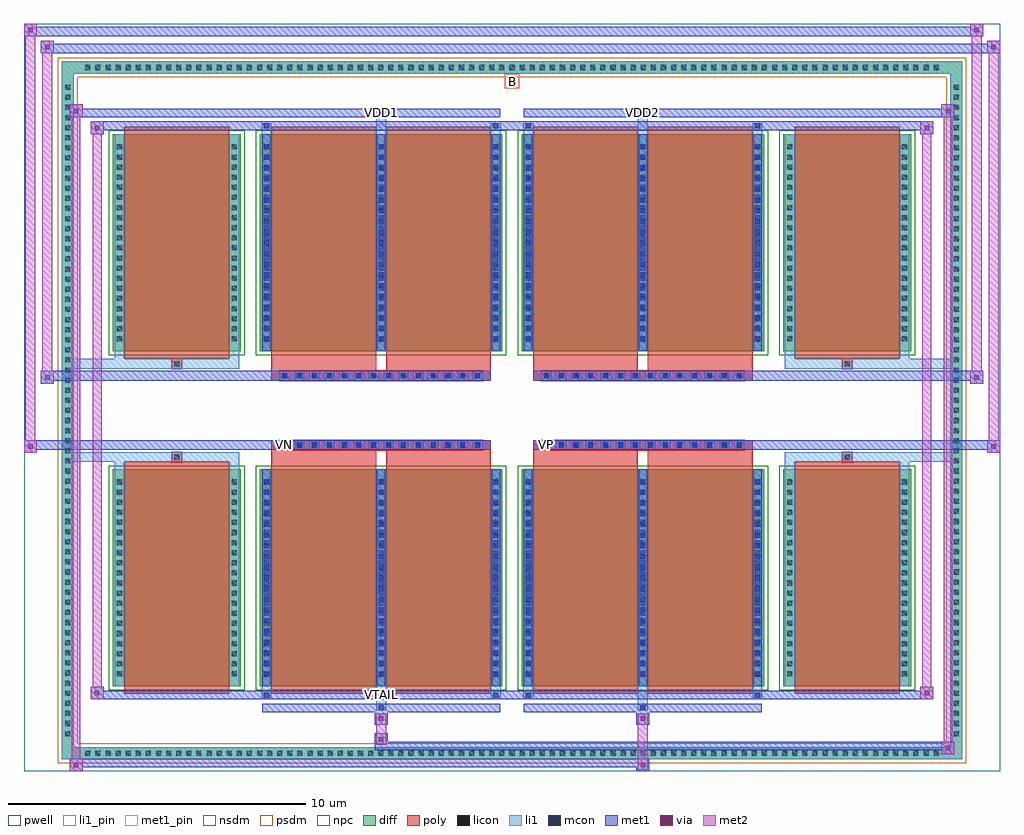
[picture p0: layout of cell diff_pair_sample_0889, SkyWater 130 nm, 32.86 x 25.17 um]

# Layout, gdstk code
import gdstk
lib = gdstk.Library(unit=1e-6, precision=5e-09)
def R(c, l, rs):  # rectangles x0, y0, x1, y1
    for r in rs: c.add(gdstk.rectangle(r[:2], r[2:], *l))
def A(c, l, x, y, w, h, nx, ny, dx, dy):  # array of equal rectangles
    R(c, l, [(x+i*dx, y+j*dy, x+i*dx+w, y+j*dy+h) for i in range(nx) for j in range(ny)])
def P(c, l, *ps):  # polygons
    for p in ps: c.add(gdstk.Polygon(p, *l))
pwell = (64, 44)
diff = (65, 20)
poly = (66, 20)
licon = (66, 44)
li1_pin = (67, 16)
li1 = (67, 20)
mcon = (67, 44)
met1_pin = (68, 16)
met1 = (68, 20)
via = (68, 44)
met2 = (69, 20)
nsdm = (93, 44)
psdm = (94, 20)
npc = (95, 20)

diff_pair_sample_0889 = lib.new_cell('diff_pair_sample_0889')
R(diff_pair_sample_0889, pwell, [(-16.43,-12.15,16.43,13.02), (-13.75,-10.34,-0.01,-0.8), (0.01,-10.34,13.75,-0.8), (-13.75,0.8,-0.01,10.34), (0.01,0.8,13.75,10.34)])
A(diff_pair_sample_0889, diff, -14.485, -11.75, 0.41, 0.41, 85, 2, 0.34, 23.09)
A(diff_pair_sample_0889, diff, -15.16, -11.085, 0.41, 0.41, 1, 65, 0, 0.34)
A(diff_pair_sample_0889, diff, 14.75, -11.085, 0.41, 0.41, 1, 65, 0, 0.34)
R(diff_pair_sample_0889, diff, [(-14.485,-11.75,14.485,-11.34), (-15.16,-11.085,-14.75,11.085), (14.75,-11.085,15.16,11.085), (-13.44,-9.295,-9.13,-1.985), (-8.49,-9.295,-0.32,-1.985), (0.32,-9.295,8.49,-1.985), (9.13,-9.295,13.44,-1.985), (-13.44,1.985,-9.13,9.295), (-8.49,1.985,-0.32,9.295), (0.32,1.985,8.49,9.295), (9.13,1.985,13.44,9.295), (-14.485,11.34,14.485,11.75)])
P(diff_pair_sample_0889, diff, [(15.16,11.75),(-15.16,11.75),(-15.16,-11.34),(-14.75,-11.34),(-14.75,11.34),(14.75,11.34),(14.75,-11.34),(-14.75,-11.34),(-15.16,-11.34),(-15.16,-11.75),(15.16,-11.75)])
A(diff_pair_sample_0889, poly, -7.82, -1.33, 0.33, 0.33, 14, 2, 0.5, 2.33)
A(diff_pair_sample_0889, poly, 0.99, -1.33, 0.33, 0.33, 14, 2, 0.5, 2.33)
R(diff_pair_sample_0889, poly, [(-13.05,-9.545,-9.52,-1.735), (-8.1,-9.545,-4.57,-1.735), (-4.24,-9.545,-0.71,-1.735), (0.71,-9.545,4.24,-1.735), (4.57,-9.545,8.1,-1.735), (9.52,-9.545,13.05,-1.735), (-11.45,-1.735,-11.12,-1.405), (-11.45,-1.735,-11.12,-1.405), (-8.1,-1.735,-4.57,-1.33), (-4.24,-1.735,-0.71,-1.33), (0.71,-1.735,4.24,-1.33), (4.57,-1.735,8.1,-1.33), (11.12,-1.735,11.45,-1.405), (11.12,-1.735,11.45,-1.405), (-8.1,-1.33,-0.71,-1), (0.71,-1.33,8.1,-1), (-8.1,1,-0.71,1.33), (0.71,1,8.1,1.33), (-8.1,1.33,-4.57,1.735), (-4.24,1.33,-0.71,1.735), (0.71,1.33,4.24,1.735), (4.57,1.33,8.1,1.735), (-11.45,1.405,-11.12,1.735), (-11.45,1.405,-11.12,1.735), (11.12,1.405,11.45,1.735), (11.12,1.405,11.45,1.735), (-13.05,1.735,-9.52,9.545), (-8.1,1.735,-4.57,9.545), (-4.24,1.735,-0.71,9.545), (0.71,1.735,4.24,9.545), (4.57,1.735,8.1,9.545), (9.52,1.735,13.05,9.545)])
A(diff_pair_sample_0889, licon, -14.365, -11.63, 0.17, 0.17, 85, 2, 0.34, 23.09)
A(diff_pair_sample_0889, licon, -15.04, -10.965, 0.17, 0.17, 1, 65, 0, 0.34)
A(diff_pair_sample_0889, licon, 14.87, -10.965, 0.17, 0.17, 1, 65, 0, 0.34)
A(diff_pair_sample_0889, licon, -13.3, -8.955, 0.17, 0.17, 1, 20, 0, 0.34)
A(diff_pair_sample_0889, licon, -9.44, -8.955, 0.17, 0.17, 1, 20, 0, 0.34)
A(diff_pair_sample_0889, licon, -8.35, -8.955, 0.17, 0.17, 3, 20, 3.86, 0.34)
A(diff_pair_sample_0889, licon, 0.46, -8.955, 0.17, 0.17, 3, 20, 3.86, 0.34)
A(diff_pair_sample_0889, licon, 9.27, -8.955, 0.17, 0.17, 1, 20, 0, 0.34)
A(diff_pair_sample_0889, licon, 13.13, -8.955, 0.17, 0.17, 1, 20, 0, 0.34)
A(diff_pair_sample_0889, licon, -7.74, -1.25, 0.17, 0.17, 14, 2, 0.5, 2.33)
A(diff_pair_sample_0889, licon, 1.07, -1.25, 0.17, 0.17, 14, 2, 0.5, 2.33)
A(diff_pair_sample_0889, licon, -13.3, 2.325, 0.17, 0.17, 1, 20, 0, 0.34)
A(diff_pair_sample_0889, licon, -9.44, 2.325, 0.17, 0.17, 1, 20, 0, 0.34)
A(diff_pair_sample_0889, licon, -8.35, 2.325, 0.17, 0.17, 3, 20, 3.86, 0.34)
A(diff_pair_sample_0889, licon, 0.46, 2.325, 0.17, 0.17, 3, 20, 3.86, 0.34)
A(diff_pair_sample_0889, licon, 9.27, 2.325, 0.17, 0.17, 1, 20, 0, 0.34)
A(diff_pair_sample_0889, licon, 13.13, 2.325, 0.17, 0.17, 1, 20, 0, 0.34)
R(diff_pair_sample_0889, licon, [(-11.37,-1.655,-11.2,-1.485), (11.2,-1.655,11.37,-1.485), (-11.37,1.485,-11.2,1.655), (11.2,1.485,11.37,1.655)])
R(diff_pair_sample_0889, li1_pin, [(-0.25,10.84,0.25,11.34)])
A(diff_pair_sample_0889, li1, -14.445, -11.71, 0.33, 0.33, 85, 2, 0.34, 23.09)
A(diff_pair_sample_0889, li1, -15.12, -11.045, 0.33, 0.33, 1, 65, 0, 0.34)
A(diff_pair_sample_0889, li1, 14.79, -11.045, 0.33, 0.33, 1, 65, 0, 0.34)
A(diff_pair_sample_0889, li1, -8.43, -9.295, 0.33, 7.31, 3, 2, 3.86, 11.28)
A(diff_pair_sample_0889, li1, 0.38, -9.295, 0.33, 7.31, 3, 2, 3.86, 11.28)
A(diff_pair_sample_0889, li1, -13.38, -9.035, 0.33, 0.33, 1, 20, 0, 0.34)
A(diff_pair_sample_0889, li1, -9.52, -9.035, 0.33, 0.33, 1, 20, 0, 0.34)
A(diff_pair_sample_0889, li1, -8.43, -9.035, 0.33, 0.33, 3, 20, 3.86, 0.34)
A(diff_pair_sample_0889, li1, 0.38, -9.035, 0.33, 0.33, 3, 20, 3.86, 0.34)
A(diff_pair_sample_0889, li1, 9.19, -9.035, 0.33, 0.33, 1, 20, 0, 0.34)
A(diff_pair_sample_0889, li1, 13.05, -9.035, 0.33, 0.33, 1, 20, 0, 0.34)
A(diff_pair_sample_0889, li1, -8.35, -8.965, 0.17, 0.17, 3, 19, 3.86, 0.36)
A(diff_pair_sample_0889, li1, -8.35, -8.965, 0.17, 6.65, 3, 2, 3.86, 11.28)
A(diff_pair_sample_0889, li1, 0.46, -8.965, 0.17, 0.17, 3, 19, 3.86, 0.36)
A(diff_pair_sample_0889, li1, 0.46, -8.965, 0.17, 6.65, 3, 2, 3.86, 11.28)
A(diff_pair_sample_0889, li1, -7.82, -1.33, 0.33, 0.33, 14, 2, 0.5, 2.33)
A(diff_pair_sample_0889, li1, 0.99, -1.33, 0.33, 0.33, 14, 2, 0.5, 2.33)
A(diff_pair_sample_0889, li1, -13.38, 2.245, 0.33, 0.33, 1, 20, 0, 0.34)
A(diff_pair_sample_0889, li1, -9.52, 2.245, 0.33, 0.33, 1, 20, 0, 0.34)
A(diff_pair_sample_0889, li1, -8.43, 2.245, 0.33, 0.33, 3, 20, 3.86, 0.34)
A(diff_pair_sample_0889, li1, 0.38, 2.245, 0.33, 0.33, 3, 20, 3.86, 0.34)
A(diff_pair_sample_0889, li1, 9.19, 2.245, 0.33, 0.33, 1, 20, 0, 0.34)
A(diff_pair_sample_0889, li1, 13.05, 2.245, 0.33, 0.33, 1, 20, 0, 0.34)
A(diff_pair_sample_0889, li1, -8.35, 2.315, 0.17, 0.17, 3, 19, 3.86, 0.36)
A(diff_pair_sample_0889, li1, 0.46, 2.315, 0.17, 0.17, 3, 19, 3.86, 0.36)
R(diff_pair_sample_0889, li1, [(-15.16,-11.75,-14.75,-11.34), (-15.16,-11.75,-14.75,-11.34), (-14.75,-11.75,14.75,-11.34), (14.75,-11.75,15.16,-11.34), (14.75,-11.75,15.16,-11.34), (-15.16,-11.34,-14.75,11.34), (14.75,-11.34,15.16,11.34), (-4.57,-10.1,-4.24,-9.295), (-4.49,-10.1,-4.32,-9.93), (4.24,-10.1,4.57,-9.295), (4.32,-10.1,4.49,-9.93), (-8.43,-9.67,-8.1,-9.295), (-8.35,-9.67,-8.18,-9.5), (-0.71,-9.67,-0.38,-9.295), (-0.63,-9.67,-0.46,-9.5), (0.38,-9.67,0.71,-9.295), (0.46,-9.67,0.63,-9.5), (8.1,-9.67,8.43,-9.295), (8.18,-9.67,8.35,-9.5), (-13.38,-9.295,-13.05,-1.985), (-9.52,-9.295,-9.19,-1.985), (9.19,-9.295,9.52,-1.985), (13.05,-9.295,13.38,-1.985), (-13.38,-1.985,-13.05,-1.405), (-9.52,-1.985,-9.19,-1.405), (9.19,-1.985,9.52,-1.405), (13.05,-1.985,13.38,-1.405), (-15.16,-1.735,-11.45,-1.405), (-13.38,-1.735,-11.45,-1.405), (-11.45,-1.735,-11.12,-1.405), (-11.12,-1.735,-9.19,-1.405), (9.19,-1.735,11.12,-1.405), (11.12,-1.735,11.45,-1.405), (11.12,-1.735,15.16,-1.405), (11.45,-1.735,13.38,-1.405), (-15.16,1.405,-11.45,1.735), (-13.38,1.405,-11.45,1.735), (-13.38,1.405,-13.05,1.985), (-11.45,1.405,-11.12,1.735), (-11.12,1.405,-9.19,1.735), (-9.52,1.405,-9.19,1.985), (9.19,1.405,11.12,1.735), (9.19,1.405,9.52,1.985), (11.12,1.405,11.45,1.735), (11.12,1.405,15.16,1.735), (11.45,1.405,13.38,1.735), (13.05,1.405,13.38,1.985), (-13.38,1.985,-13.05,9.295), (-9.52,1.985,-9.19,9.295), (9.19,1.985,9.52,9.295), (13.05,1.985,13.38,9.295), (-8.43,9.295,-8.1,9.67), (-4.57,9.295,-4.24,10.1), (-0.71,9.295,-0.38,9.67), (0.38,9.295,0.71,9.67), (4.24,9.295,4.57,10.1), (8.1,9.295,8.43,9.67), (-8.35,9.5,-8.18,9.67), (-0.63,9.5,-0.46,9.67), (0.46,9.5,0.63,9.67), (8.18,9.5,8.35,9.67), (-4.49,9.93,-4.32,10.1), (4.32,9.93,4.49,10.1), (-15.16,11.34,-14.75,11.75), (-15.16,11.34,-14.75,11.75), (-14.75,11.34,14.75,11.75), (14.75,11.34,15.16,11.75), (14.75,11.34,15.16,11.75)])
A(diff_pair_sample_0889, mcon, -8.35, -8.965, 0.17, 0.17, 3, 19, 3.86, 0.36)
A(diff_pair_sample_0889, mcon, 0.46, -8.965, 0.17, 0.17, 3, 19, 3.86, 0.36)
A(diff_pair_sample_0889, mcon, -7.74, -1.25, 0.17, 0.17, 14, 2, 0.5, 2.33)
A(diff_pair_sample_0889, mcon, 1.07, -1.25, 0.17, 0.17, 14, 2, 0.5, 2.33)
A(diff_pair_sample_0889, mcon, -8.35, 2.315, 0.17, 0.17, 3, 19, 3.86, 0.36)
A(diff_pair_sample_0889, mcon, 0.46, 2.315, 0.17, 0.17, 3, 19, 3.86, 0.36)
R(diff_pair_sample_0889, mcon, [(-4.49,-10.1,-4.32,-9.93), (4.32,-10.1,4.49,-9.93), (-8.35,-9.67,-8.18,-9.5), (-0.63,-9.67,-0.46,-9.5), (0.46,-9.67,0.63,-9.5), (8.18,-9.67,8.35,-9.5), (-8.35,9.5,-8.18,9.67), (-0.63,9.5,-0.46,9.67), (0.46,9.5,0.63,9.67), (8.18,9.5,8.35,9.67), (-4.49,9.93,-4.32,10.1), (4.32,9.93,4.49,10.1)])
R(diff_pair_sample_0889, met1_pin, [(-4.54,-9.71,-4.27,-9.44), (-7.79,-1.29,-7.52,-1.02), (1.02,-1.29,1.29,-1.02), (-4.54,9.89,-4.27,10.16), (4.27,9.89,4.54,10.16)])
A(diff_pair_sample_0889, met1, -8.41, -9.295, 0.29, 7.31, 3, 2, 3.86, 11.28)
A(diff_pair_sample_0889, met1, 0.4, -9.295, 0.29, 7.31, 3, 2, 3.86, 11.28)
A(diff_pair_sample_0889, met1, -8.41, -9.025, 0.29, 0.29, 3, 19, 3.86, 0.36)
A(diff_pair_sample_0889, met1, 0.4, -9.025, 0.29, 0.29, 3, 19, 3.86, 0.36)
A(diff_pair_sample_0889, met1, -7.8, -1.31, 0.29, 0.29, 14, 2, 0.5, 2.33)
A(diff_pair_sample_0889, met1, 1.01, -1.31, 0.29, 0.29, 14, 2, 0.5, 2.33)
A(diff_pair_sample_0889, met1, -8.41, 2.255, 0.29, 0.29, 3, 19, 3.86, 0.36)
A(diff_pair_sample_0889, met1, 0.4, 2.255, 0.29, 0.29, 3, 19, 3.86, 0.36)
R(diff_pair_sample_0889, met1, [(-14.89,-12.15,-14.46,-11.72), (4.19,-12.15,4.62,-11.72), (-14.89,-12.01,4.62,-11.72), (14.46,-11.58,14.89,-11.15), (-4.62,-11.44,14.89,-11.15), (-4.62,-11.3,-4.19,-10.87), (-4.62,-10.59,-4.19,-10.16), (4.19,-10.59,4.62,-10.16), (-8.41,-10.16,-0.4,-9.87), (-4.55,-10.16,-4.26,-9.87), (0.4,-10.16,8.41,-9.87), (4.26,-10.16,4.55,-9.87), (-14.18,-9.73,-13.75,-9.3), (-14.18,-9.73,-8.41,-9.44), (-8.41,-9.73,-8.12,-9.44), (-8.41,-9.73,-0.4,-9.44), (-0.69,-9.73,-0.4,-9.44), (-0.4,-9.73,0.4,-9.44), (0.4,-9.73,0.69,-9.44), (0.4,-9.73,8.41,-9.44), (8.12,-9.73,8.41,-9.44), (8.41,-9.73,14.18,-9.44), (13.75,-9.73,14.18,-9.3), (-16.43,-1.43,-16,-1), (16,-1.43,16.43,-1), (-16.43,-1.33,-0.71,-1), (-8.1,-1.33,-0.71,-1), (0.71,-1.33,8.1,-1), (0.71,-1.33,16.43,-1), (-15.86,0.9,-15.43,1.33), (15.43,0.9,15.86,1.33), (-15.86,1,-8.1,1.33), (-8.1,1,-0.71,1.33), (0.71,1,8.1,1.33), (8.1,1,15.86,1.33), (-14.18,9.3,-13.75,9.73), (13.75,9.3,14.18,9.73), (-14.18,9.44,-8.41,9.73), (-8.41,9.44,-8.12,9.73), (-8.41,9.44,-0.4,9.73), (-0.69,9.44,-0.4,9.73), (-0.4,9.44,0.4,9.73), (0.4,9.44,0.69,9.73), (0.4,9.44,8.41,9.73), (8.12,9.44,8.41,9.73), (8.41,9.44,14.18,9.73), (-14.89,9.87,-14.46,10.3), (-14.89,9.87,-8.41,10.16), (-8.41,9.87,-0.4,10.16), (-4.55,9.87,-4.26,10.16), (0.4,9.87,8.41,10.16), (4.26,9.87,4.55,10.16), (8.41,9.87,14.89,10.16), (14.46,9.87,14.89,10.3), (-15.86,12.02,-15.43,12.45), (-15.86,12.02,-13.75,12.35), (-13.75,12.02,13.75,12.35), (13.75,12.02,16.43,12.35), (16,12.02,16.43,12.45), (-16.43,12.59,-16,13.02), (-16.43,12.59,-13.75,12.92), (-13.75,12.59,13.75,12.92), (13.75,12.59,15.86,12.92), (15.43,12.59,15.86,13.02)])
R(diff_pair_sample_0889, via, [(-14.75,-12.01,-14.6,-11.86), (4.33,-12.01,4.48,-11.86), (14.6,-11.44,14.75,-11.29), (-4.48,-11.16,-4.33,-11.01), (-4.48,-10.45,-4.33,-10.3), (4.33,-10.45,4.48,-10.3), (-14.04,-9.59,-13.89,-9.44), (13.89,-9.59,14.04,-9.44), (-16.29,-1.29,-16.14,-1.14), (16.14,-1.29,16.29,-1.14), (-15.72,1.04,-15.57,1.19), (15.57,1.04,15.72,1.19), (-14.04,9.44,-13.89,9.59), (13.89,9.44,14.04,9.59), (-14.75,10.01,-14.6,10.16), (14.6,10.01,14.75,10.16), (-15.72,12.16,-15.57,12.31), (16.14,12.16,16.29,12.31), (-16.29,12.73,-16.14,12.88), (15.57,12.73,15.72,12.88)])
R(diff_pair_sample_0889, met2, [(-14.89,-12.15,-14.46,-11.72), (-14.82,-12.15,-14.53,10.3), (-14.53,-12.15,-14.46,-11.72), (-14.84,-12.1,-14.51,-11.77), (4.24,-12.1,4.57,-11.77), (4.24,-11.77,4.57,-10.54), (14.46,-11.58,14.89,-11.15), (14.53,-11.58,14.82,10.3), (14.82,-11.58,14.89,-11.15), (14.51,-11.53,14.84,-11.2), (-4.57,-11.25,-4.24,-10.92), (-4.57,-10.92,-4.24,-10.54), (-4.57,-10.54,-4.24,-10.21), (4.24,-10.54,4.57,-10.21), (-14.18,-9.73,-13.75,-9.3), (-14.11,-9.73,-13.82,9.73), (-13.82,-9.73,-13.75,-9.3), (13.75,-9.73,14.18,-9.3), (13.82,-9.73,14.11,9.73), (14.11,-9.73,14.18,-9.3), (-14.13,-9.68,-13.8,-9.35), (13.8,-9.68,14.13,-9.35), (-16.43,-1.43,-16,-1), (-16.38,-1.43,-16.05,13.02), (-16.05,-1.43,-16,-1), (16,-1.43,16.43,-1), (16.05,-1.43,16.38,12.45), (16.38,-1.43,16.43,-1), (-16.38,-1.38,-16.05,-1.05), (16.05,-1.38,16.38,-1.05), (-15.86,0.9,-15.43,1.33), (-15.81,0.9,-15.48,12.45), (-15.48,0.9,-15.43,1.33), (15.43,0.9,15.86,1.33), (15.48,0.9,15.81,13.02), (15.81,0.9,15.86,1.33), (-15.81,0.95,-15.48,1.28), (15.48,0.95,15.81,1.28), (-14.18,9.3,-13.75,9.73), (-13.82,9.3,-13.75,9.73), (13.75,9.3,14.18,9.73), (14.11,9.3,14.18,9.73), (-14.13,9.35,-13.8,9.68), (13.8,9.35,14.13,9.68), (-14.89,9.87,-14.46,10.3), (-14.53,9.87,-14.46,10.3), (14.46,9.87,14.89,10.3), (14.82,9.87,14.89,10.3), (-14.84,9.92,-14.51,10.25), (14.51,9.92,14.84,10.25), (-15.86,12.02,-15.43,12.45), (-15.48,12.02,-15.43,12.45), (16,12.02,16.43,12.45), (16.38,12.02,16.43,12.45), (-15.81,12.07,-15.48,12.4), (16.05,12.07,16.38,12.4), (-16.43,12.59,-16,13.02), (-16.05,12.59,-16,13.02), (15.43,12.59,15.86,13.02), (15.81,12.59,15.86,13.02), (-16.38,12.64,-16.05,12.97), (15.48,12.64,15.81,12.97)])
R(diff_pair_sample_0889, nsdm, [(-13.57,-9.425,-9,-1.855), (-8.62,-9.425,-0.19,-1.855), (0.19,-9.425,8.62,-1.855), (9,-9.425,13.57,-1.855), (-13.57,1.855,-9,9.425), (-8.62,1.855,-0.19,9.425), (0.19,1.855,8.62,9.425), (9,1.855,13.57,9.425)])
P(diff_pair_sample_0889, psdm, [(15.29,11.88),(-15.29,11.88),(-15.29,-11.21),(-14.62,-11.21),(-14.62,11.21),(14.62,11.21),(14.62,-11.21),(-14.62,-11.21),(-15.29,-11.21),(-15.29,-11.88),(15.29,-11.88)])
A(diff_pair_sample_0889, npc, -7.84, -1.35, 0.37, 0.37, 14, 2, 0.5, 2.33)
A(diff_pair_sample_0889, npc, 0.97, -1.35, 0.37, 0.37, 14, 2, 0.5, 2.33)
R(diff_pair_sample_0889, npc, [(-11.47,-1.755,-11.1,-1.385), (11.1,-1.755,11.47,-1.385), (-7.84,-1.35,-6.97,-0.98), (-7.84,-1.35,-6.97,-0.98), (-7.34,-1.35,-6.47,-0.98), (-7.34,-1.35,-6.47,-0.98), (-6.84,-1.35,-5.97,-0.98), (-6.84,-1.35,-5.97,-0.98), (-6.34,-1.35,-5.47,-0.98), (-6.34,-1.35,-5.47,-0.98), (-5.84,-1.35,-4.97,-0.98), (-5.84,-1.35,-4.97,-0.98), (-5.34,-1.35,-4.47,-0.98), (-5.34,-1.35,-4.47,-0.98), (-4.84,-1.35,-3.97,-0.98), (-4.84,-1.35,-3.97,-0.98), (-4.34,-1.35,-3.47,-0.98), (-4.34,-1.35,-3.47,-0.98), (-3.84,-1.35,-2.97,-0.98), (-3.84,-1.35,-2.97,-0.98), (-3.34,-1.35,-2.47,-0.98), (-3.34,-1.35,-2.47,-0.98), (-2.84,-1.35,-1.97,-0.98), (-2.84,-1.35,-1.97,-0.98), (-2.34,-1.35,-1.47,-0.98), (-2.34,-1.35,-1.47,-0.98), (-1.84,-1.35,-0.97,-0.98), (-1.84,-1.35,-0.97,-0.98), (0.97,-1.35,1.84,-0.98), (0.97,-1.35,1.84,-0.98), (1.47,-1.35,2.34,-0.98), (1.47,-1.35,2.34,-0.98), (1.97,-1.35,2.84,-0.98), (1.97,-1.35,2.84,-0.98), (2.47,-1.35,3.34,-0.98), (2.47,-1.35,3.34,-0.98), (2.97,-1.35,3.84,-0.98), (2.97,-1.35,3.84,-0.98), (3.47,-1.35,4.34,-0.98), (3.47,-1.35,4.34,-0.98), (3.97,-1.35,4.84,-0.98), (3.97,-1.35,4.84,-0.98), (4.47,-1.35,5.34,-0.98), (4.47,-1.35,5.34,-0.98), (4.97,-1.35,5.84,-0.98), (4.97,-1.35,5.84,-0.98), (5.47,-1.35,6.34,-0.98), (5.47,-1.35,6.34,-0.98), (5.97,-1.35,6.84,-0.98), (5.97,-1.35,6.84,-0.98), (6.47,-1.35,7.34,-0.98), (6.47,-1.35,7.34,-0.98), (6.97,-1.35,7.84,-0.98), (6.97,-1.35,7.84,-0.98), (-7.84,0.98,-6.97,1.35), (-7.84,0.98,-6.97,1.35), (-7.34,0.98,-6.47,1.35), (-7.34,0.98,-6.47,1.35), (-6.84,0.98,-5.97,1.35), (-6.84,0.98,-5.97,1.35), (-6.34,0.98,-5.47,1.35), (-6.34,0.98,-5.47,1.35), (-5.84,0.98,-4.97,1.35), (-5.84,0.98,-4.97,1.35), (-5.34,0.98,-4.47,1.35), (-5.34,0.98,-4.47,1.35), (-4.84,0.98,-3.97,1.35), (-4.84,0.98,-3.97,1.35), (-4.34,0.98,-3.47,1.35), (-4.34,0.98,-3.47,1.35), (-3.84,0.98,-2.97,1.35), (-3.84,0.98,-2.97,1.35), (-3.34,0.98,-2.47,1.35), (-3.34,0.98,-2.47,1.35), (-2.84,0.98,-1.97,1.35), (-2.84,0.98,-1.97,1.35), (-2.34,0.98,-1.47,1.35), (-2.34,0.98,-1.47,1.35), (-1.84,0.98,-0.97,1.35), (-1.84,0.98,-0.97,1.35), (0.97,0.98,1.84,1.35), (0.97,0.98,1.84,1.35), (1.47,0.98,2.34,1.35), (1.47,0.98,2.34,1.35), (1.97,0.98,2.84,1.35), (1.97,0.98,2.84,1.35), (2.47,0.98,3.34,1.35), (2.47,0.98,3.34,1.35), (2.97,0.98,3.84,1.35), (2.97,0.98,3.84,1.35), (3.47,0.98,4.34,1.35), (3.47,0.98,4.34,1.35), (3.97,0.98,4.84,1.35), (3.97,0.98,4.84,1.35), (4.47,0.98,5.34,1.35), (4.47,0.98,5.34,1.35), (4.97,0.98,5.84,1.35), (4.97,0.98,5.84,1.35), (5.47,0.98,6.34,1.35), (5.47,0.98,6.34,1.35), (5.97,0.98,6.84,1.35), (5.97,0.98,6.84,1.35), (6.47,0.98,7.34,1.35), (6.47,0.98,7.34,1.35), (6.97,0.98,7.84,1.35), (6.97,0.98,7.84,1.35), (-11.47,1.385,-11.1,1.755), (11.1,1.385,11.47,1.755)])
diff_pair_sample_0889.add(gdstk.Label('VTAIL', (-4.405,-9.575), layer=68, texttype=5))
diff_pair_sample_0889.add(gdstk.Label('VN', (-7.655,-1.155), layer=68, texttype=5))
diff_pair_sample_0889.add(gdstk.Label('VP', (1.155,-1.155), layer=68, texttype=5))
diff_pair_sample_0889.add(gdstk.Label('B', (0,11.09), layer=67, texttype=5))
diff_pair_sample_0889.add(gdstk.Label('VDD2', (4.405,10.025), layer=68, texttype=5))
diff_pair_sample_0889.add(gdstk.Label('VDD1', (-4.405,10.025), layer=68, texttype=5))

lib.write_gds('diff_pair_sample_0889.gds')
